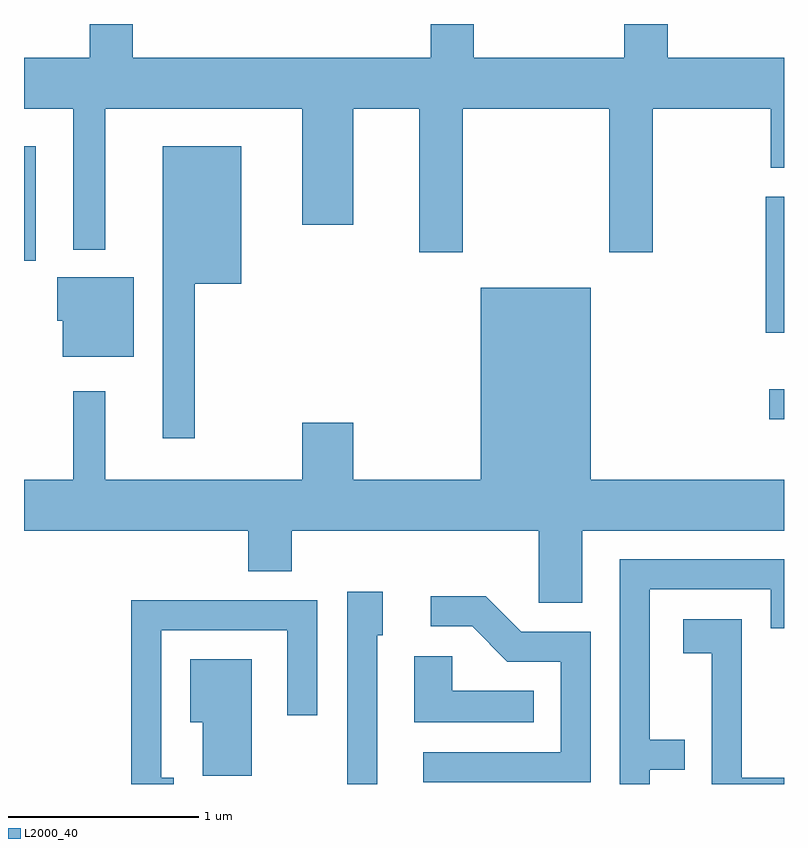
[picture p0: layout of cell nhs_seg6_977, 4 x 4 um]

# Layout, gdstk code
import gdstk
lib = gdstk.Library(unit=1e-6, precision=1e-09)
def R(c, l, rs):  # rectangles x0, y0, x1, y1
    for r in rs: c.add(gdstk.rectangle(r[:2], r[2:], *l))
def P(c, l, *ps):  # polygons
    for p in ps: c.add(gdstk.Polygon(p, *l))
L2000_40 = (2000, 40)

nhs_seg6_977 = lib.new_cell('nhs_seg6_977')
R(nhs_seg6_977, L2000_40, [(217.533,1646.081,217.611,1646.239), (217.516,1646.536,217.611,1647.254), (213.611,1646.916,213.674,1647.519)])
P(nhs_seg6_977, L2000_40, [(215.919,1647.716),(216.691,1647.716),(216.691,1646.961),(216.919,1646.961),(216.919,1647.716),(217.541,1647.716),(217.541,1647.406),(217.611,1647.406),(217.611,1647.984),(216.999,1647.984),(216.999,1648.162),(216.771,1648.162),(216.771,1647.984),(215.979,1647.984),(215.979,1648.162),(215.751,1648.162),(215.751,1647.984),(214.184,1647.984),(214.184,1648.162),(213.956,1648.162),(213.956,1647.984),(213.611,1647.984),(213.611,1647.716),(213.871,1647.716),(213.871,1646.973),(214.039,1646.973),(214.039,1647.716),(215.076,1647.716),(215.076,1647.106),(215.344,1647.106),(215.344,1647.716),(215.691,1647.716),(215.691,1646.961),(215.919,1646.961)],
  [(214.509,1646.796),(214.754,1646.796),(214.754,1647.519),(214.341,1647.519),(214.341,1645.983),(214.509,1645.983)],
  [(214.189,1646.829),(213.786,1646.829),(213.786,1646.601),(213.816,1646.601),(213.816,1646.411),(214.189,1646.411)],
  [(216.549,1645.496),(217.611,1645.496),(217.611,1645.764),(216.594,1645.764),(216.594,1646.774),(216.016,1646.774),(216.016,1645.764),(215.344,1645.764),(215.344,1646.064),(215.076,1646.064),(215.076,1645.764),(214.039,1645.764),(214.039,1646.228),(213.871,1646.228),(213.871,1645.764),(213.611,1645.764),(213.611,1645.496),(214.791,1645.496),(214.791,1645.281),(215.019,1645.281),(215.019,1645.496),(216.321,1645.496),(216.321,1645.116),(216.549,1645.116)],
  [(216.904,1644.236),(217.088,1644.236),(217.088,1644.394),(216.904,1644.394),(216.904,1645.186),(217.541,1645.186),(217.541,1644.981),(217.611,1644.981),(217.611,1645.344),(216.746,1645.344),(216.746,1644.162),(216.904,1644.162)],
  [(215.469,1644.946),(215.499,1644.946),(215.499,1645.174),(215.311,1645.174),(215.311,1644.162),(215.469,1644.162)],
  [(216.594,1644.964),(216.227,1644.964),(216.042,1645.149),(215.753,1645.149),(215.753,1644.991),(215.969,1644.991),(216.154,1644.806),(216.436,1644.806),(216.436,1644.329),(215.713,1644.329),(215.713,1644.171),(216.594,1644.171)],
  [(214.399,1644.194),(214.334,1644.194),(214.334,1644.971),(214.996,1644.971),(214.996,1644.523),(215.154,1644.523),(215.154,1645.129),(214.176,1645.129),(214.176,1644.162),(214.399,1644.162)],
  [(217.611,1644.194),(217.389,1644.194),(217.389,1645.029),(217.081,1645.029),(217.081,1644.851),(217.231,1644.851),(217.231,1644.162),(217.611,1644.162)],
  [(216.293,1644.654),(215.864,1644.654),(215.864,1644.834),(215.666,1644.834),(215.666,1644.486),(216.293,1644.486)],
  [(214.809,1644.819),(214.486,1644.819),(214.486,1644.486),(214.551,1644.486),(214.551,1644.206),(214.809,1644.206)])

lib.write_gds('nhs_seg6_977.gds')
